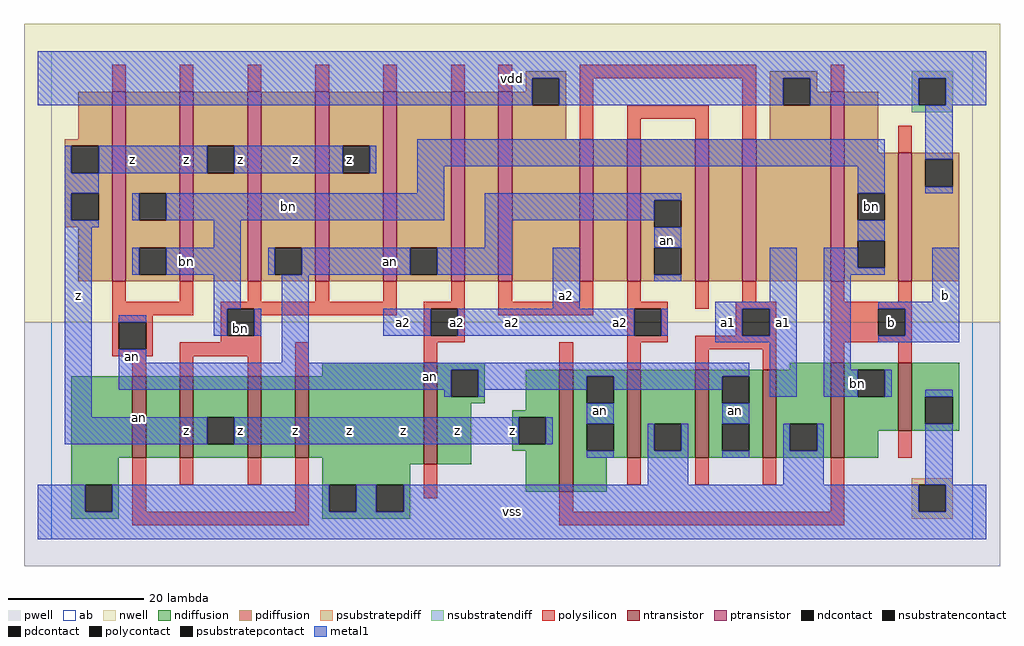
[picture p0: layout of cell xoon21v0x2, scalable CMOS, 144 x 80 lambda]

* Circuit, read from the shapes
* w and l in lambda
.subckt xoon21v0x2 a1 a2 an b bn vdd vss z
M1 n1 an vss vss nfet w=12 l=2
M2 z bn n1 vss nfet w=12 l=2
M3 n2 bn z vss nfet w=12 l=2
M4 vss an n2 vss nfet w=12 l=2
M5 an a2 vss vss nfet w=15 l=2
M6 an b z vss nfet w=18 l=2
M7 vss a2 an vss nfet w=13 l=2
M8 an a1 vss vss nfet w=13 l=2 m=2
M9 bn b vss vss nfet w=14 l=2
M10 vss b bn vss nfet w=10 l=2
M11 bn an z vdd pfet w=28 l=2 m=2
M12 an bn z vdd pfet w=28 l=2 m=3
M13 n3 a2 an vdd pfet w=28 l=2
M14 vdd a1 n3 vdd pfet w=28 l=2
M15 n4 a1 vdd vdd pfet w=21 l=2
M16 an a2 n4 vdd pfet w=21 l=2
M17 n5 a2 an vdd pfet w=21 l=2
M18 vdd a1 n5 vdd pfet w=21 l=2
M19 bn b vdd vdd pfet w=28 l=2
M20 vdd b bn vdd pfet w=19 l=2
.ends

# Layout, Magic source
magic
tech scmos
<< ab >>
rect 0 0 136 72
<< pwell >>
rect -4 -4 140 32
<< nwell >>
rect -4 32 140 76
<< polysilicon >>
rect 9 66 11 70
rect 19 66 21 70
rect 29 66 31 70
rect 39 66 41 70
rect 49 66 51 70
rect 59 66 61 70
rect 66 66 68 70
rect 78 68 104 70
rect 78 59 80 68
rect 85 62 97 64
rect 85 59 87 62
rect 95 59 97 62
rect 102 59 104 68
rect 115 66 117 70
rect 125 57 127 61
rect 9 35 11 38
rect 19 35 21 38
rect 29 35 31 38
rect 39 35 41 38
rect 49 35 51 38
rect 59 35 61 38
rect 9 33 21 35
rect 25 34 51 35
rect 9 32 15 33
rect 9 28 10 32
rect 14 28 15 32
rect 25 30 26 34
rect 30 33 51 34
rect 55 34 61 35
rect 30 30 31 33
rect 25 29 31 30
rect 55 30 56 34
rect 60 30 61 34
rect 66 35 68 38
rect 78 35 80 38
rect 66 33 80 35
rect 85 35 87 38
rect 85 34 91 35
rect 95 34 97 38
rect 102 35 104 38
rect 115 35 117 38
rect 125 35 127 38
rect 101 34 107 35
rect 55 29 61 30
rect 85 30 86 34
rect 90 30 91 34
rect 101 30 102 34
rect 106 30 107 34
rect 85 29 91 30
rect 9 27 15 28
rect 19 27 31 29
rect 12 24 14 27
rect 19 24 21 27
rect 29 24 31 27
rect 36 24 38 29
rect 55 26 57 29
rect 12 4 14 12
rect 19 8 21 12
rect 29 8 31 12
rect 36 4 38 12
rect 12 2 38 4
rect 75 25 77 29
rect 85 25 87 29
rect 95 28 107 30
rect 95 25 97 28
rect 105 25 107 28
rect 115 34 127 35
rect 115 30 122 34
rect 126 30 127 34
rect 115 29 127 30
rect 115 26 117 29
rect 125 26 127 29
rect 55 6 57 11
rect 125 12 127 16
rect 85 8 87 12
rect 95 8 97 12
rect 105 8 107 12
rect 75 4 77 7
rect 115 4 117 12
rect 75 2 117 4
<< ndiffusion >>
rect 40 24 55 26
rect 3 12 12 24
rect 14 12 19 24
rect 21 18 29 24
rect 21 14 23 18
rect 27 14 29 18
rect 21 12 29 14
rect 31 12 36 24
rect 38 12 55 24
rect 3 8 10 12
rect 3 4 5 8
rect 9 4 10 8
rect 3 3 10 4
rect 40 11 55 12
rect 57 25 64 26
rect 109 25 115 26
rect 57 21 59 25
rect 63 21 64 25
rect 57 20 64 21
rect 57 11 62 20
rect 70 19 75 25
rect 68 18 75 19
rect 68 14 69 18
rect 73 14 75 18
rect 68 13 75 14
rect 40 8 53 11
rect 40 4 41 8
rect 45 4 48 8
rect 52 4 53 8
rect 70 7 75 13
rect 77 24 85 25
rect 77 20 79 24
rect 83 20 85 24
rect 77 17 85 20
rect 77 13 79 17
rect 83 13 85 17
rect 77 12 85 13
rect 87 17 95 25
rect 87 13 89 17
rect 93 13 95 17
rect 87 12 95 13
rect 97 24 105 25
rect 97 20 99 24
rect 103 20 105 24
rect 97 17 105 20
rect 97 13 99 17
rect 103 13 105 17
rect 97 12 105 13
rect 107 17 115 25
rect 107 13 109 17
rect 113 13 115 17
rect 107 12 115 13
rect 117 25 125 26
rect 117 21 119 25
rect 123 21 125 25
rect 117 16 125 21
rect 127 21 134 26
rect 127 17 129 21
rect 133 17 134 21
rect 127 16 134 17
rect 117 12 122 16
rect 77 7 82 12
rect 40 3 53 4
<< pdiffusion >>
rect 70 68 76 69
rect 70 66 71 68
rect 4 59 9 66
rect 2 58 9 59
rect 2 54 3 58
rect 7 54 9 58
rect 2 51 9 54
rect 2 47 3 51
rect 7 47 9 51
rect 2 46 9 47
rect 4 38 9 46
rect 11 51 19 66
rect 11 47 13 51
rect 17 47 19 51
rect 11 43 19 47
rect 11 39 13 43
rect 17 39 19 43
rect 11 38 19 39
rect 21 58 29 66
rect 21 54 23 58
rect 27 54 29 58
rect 21 38 29 54
rect 31 43 39 66
rect 31 39 33 43
rect 37 39 39 43
rect 31 38 39 39
rect 41 58 49 66
rect 41 54 43 58
rect 47 54 49 58
rect 41 38 49 54
rect 51 43 59 66
rect 51 39 53 43
rect 57 39 59 43
rect 51 38 59 39
rect 61 38 66 66
rect 68 64 71 66
rect 75 64 76 68
rect 68 59 76 64
rect 106 68 113 69
rect 106 64 108 68
rect 112 66 113 68
rect 112 64 115 66
rect 106 59 115 64
rect 68 38 78 59
rect 80 38 85 59
rect 87 50 95 59
rect 87 46 89 50
rect 93 46 95 50
rect 87 43 95 46
rect 87 39 89 43
rect 93 39 95 43
rect 87 38 95 39
rect 97 38 102 59
rect 104 38 115 59
rect 117 57 122 66
rect 117 51 125 57
rect 117 47 119 51
rect 123 47 125 51
rect 117 44 125 47
rect 117 40 119 44
rect 123 40 125 44
rect 117 38 125 40
rect 127 56 134 57
rect 127 52 129 56
rect 133 52 134 56
rect 127 38 134 52
<< metal1 >>
rect -2 68 138 72
rect -2 64 71 68
rect 75 64 108 68
rect 112 64 128 68
rect 132 64 138 68
rect 2 54 3 58
rect 7 54 23 58
rect 27 54 43 58
rect 47 54 48 58
rect 54 55 123 59
rect 2 51 7 54
rect 54 51 58 55
rect 119 51 123 55
rect 129 56 133 64
rect 129 51 133 52
rect 2 47 3 51
rect 12 47 13 51
rect 17 47 58 51
rect 64 50 93 51
rect 64 47 89 50
rect 2 46 7 47
rect 2 18 6 46
rect 24 43 28 47
rect 64 43 68 47
rect 89 43 93 46
rect 119 44 123 47
rect 12 39 13 43
rect 17 39 28 43
rect 32 39 33 43
rect 37 39 53 43
rect 57 39 68 43
rect 24 34 28 39
rect 10 32 14 33
rect 24 30 26 34
rect 30 30 31 34
rect 10 26 14 28
rect 34 26 38 39
rect 74 34 78 43
rect 89 38 93 39
rect 106 35 110 43
rect 98 34 110 35
rect 49 30 56 34
rect 60 30 86 34
rect 90 30 91 34
rect 98 30 102 34
rect 106 30 110 34
rect 98 29 110 30
rect 10 25 103 26
rect 10 22 59 25
rect 58 21 59 22
rect 63 24 103 25
rect 63 22 79 24
rect 63 21 64 22
rect 83 22 99 24
rect 2 14 23 18
rect 27 14 69 18
rect 73 14 74 18
rect 79 17 83 20
rect 106 21 110 29
rect 114 40 119 43
rect 114 39 123 40
rect 114 25 118 39
rect 130 35 134 43
rect 122 34 134 35
rect 126 30 134 34
rect 122 29 134 30
rect 114 21 119 25
rect 123 21 124 25
rect 129 21 133 22
rect 99 17 103 20
rect 79 12 83 13
rect 88 13 89 17
rect 93 13 94 17
rect 88 8 94 13
rect 99 12 103 13
rect 108 13 109 17
rect 113 13 114 17
rect 108 8 114 13
rect 129 8 133 17
rect -2 4 5 8
rect 9 4 41 8
rect 45 4 48 8
rect 52 4 128 8
rect 132 4 138 8
rect -2 0 138 4
<< ntransistor >>
rect 12 12 14 24
rect 19 12 21 24
rect 29 12 31 24
rect 36 12 38 24
rect 55 11 57 26
rect 75 7 77 25
rect 85 12 87 25
rect 95 12 97 25
rect 105 12 107 25
rect 115 12 117 26
rect 125 16 127 26
<< ptransistor >>
rect 9 38 11 66
rect 19 38 21 66
rect 29 38 31 66
rect 39 38 41 66
rect 49 38 51 66
rect 59 38 61 66
rect 66 38 68 66
rect 78 38 80 59
rect 85 38 87 59
rect 95 38 97 59
rect 102 38 104 59
rect 115 38 117 66
rect 125 38 127 57
<< polycontact >>
rect 10 28 14 32
rect 26 30 30 34
rect 56 30 60 34
rect 86 30 90 34
rect 102 30 106 34
rect 122 30 126 34
<< ndcontact >>
rect 23 14 27 18
rect 5 4 9 8
rect 59 21 63 25
rect 69 14 73 18
rect 41 4 45 8
rect 48 4 52 8
rect 79 20 83 24
rect 79 13 83 17
rect 89 13 93 17
rect 99 20 103 24
rect 99 13 103 17
rect 109 13 113 17
rect 119 21 123 25
rect 129 17 133 21
<< pdcontact >>
rect 3 54 7 58
rect 3 47 7 51
rect 13 47 17 51
rect 13 39 17 43
rect 23 54 27 58
rect 33 39 37 43
rect 43 54 47 58
rect 53 39 57 43
rect 71 64 75 68
rect 108 64 112 68
rect 89 46 93 50
rect 89 39 93 43
rect 119 47 123 51
rect 119 40 123 44
rect 129 52 133 56
<< psubstratepcontact >>
rect 128 4 132 8
<< nsubstratencontact >>
rect 128 64 132 68
<< psubstratepdiff >>
rect 127 8 133 9
rect 127 4 128 8
rect 132 4 133 8
rect 127 3 133 4
<< nsubstratendiff >>
rect 127 68 133 69
rect 127 64 128 68
rect 132 64 133 68
rect 127 63 133 64
<< labels >>
rlabel ntransistor 13 18 13 18 6 an
rlabel polycontact 28 31 28 31 6 bn
rlabel metal1 12 16 12 16 6 z
rlabel metal1 20 16 20 16 6 z
rlabel metal1 12 27 12 27 6 an
rlabel metal1 4 36 4 36 6 z
rlabel metal1 12 56 12 56 6 z
rlabel metal1 20 56 20 56 6 z
rlabel metal1 36 16 36 16 6 z
rlabel metal1 44 16 44 16 6 z
rlabel metal1 28 16 28 16 6 z
rlabel polycontact 27 32 27 32 6 bn
rlabel metal1 20 41 20 41 6 bn
rlabel metal1 36 56 36 56 6 z
rlabel pdcontact 44 56 44 56 6 z
rlabel metal1 28 56 28 56 6 z
rlabel metal1 68 4 68 4 6 vss
rlabel metal1 60 16 60 16 6 z
rlabel metal1 68 16 68 16 6 z
rlabel metal1 52 16 52 16 6 z
rlabel metal1 60 32 60 32 6 a2
rlabel metal1 68 32 68 32 6 a2
rlabel metal1 52 32 52 32 6 a2
rlabel metal1 76 36 76 36 6 a2
rlabel metal1 50 41 50 41 6 an
rlabel metal1 35 49 35 49 6 bn
rlabel metal1 68 68 68 68 6 vdd
rlabel metal1 101 19 101 19 6 an
rlabel metal1 81 19 81 19 6 an
rlabel metal1 56 24 56 24 6 an
rlabel metal1 100 32 100 32 6 a1
rlabel metal1 108 32 108 32 6 a1
rlabel metal1 84 32 84 32 6 a2
rlabel metal1 91 44 91 44 6 an
rlabel metal1 119 23 119 23 6 bn
rlabel polycontact 124 32 124 32 6 b
rlabel metal1 132 36 132 36 6 b
rlabel pdcontact 121 49 121 49 6 bn
<< end >>
